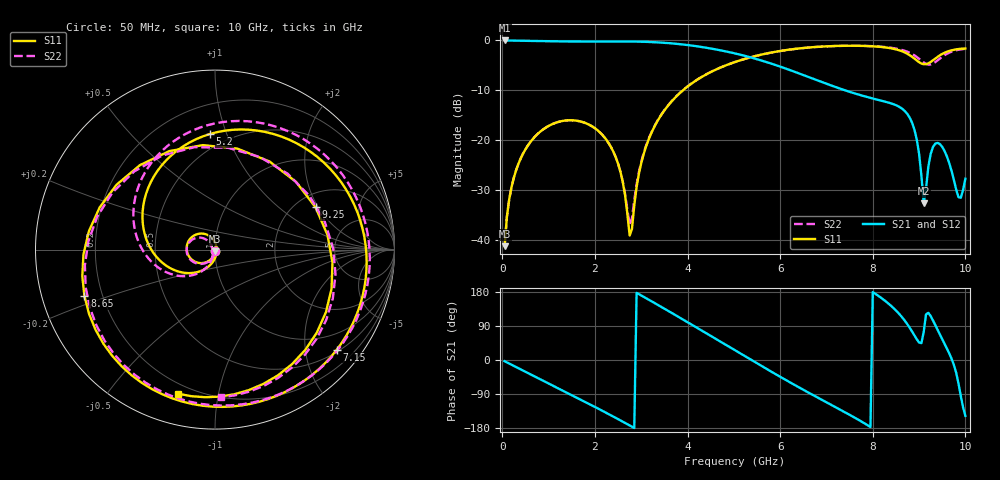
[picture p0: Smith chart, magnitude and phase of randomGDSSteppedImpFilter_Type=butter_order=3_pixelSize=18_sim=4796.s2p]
! freq	dB(S11)	phase(S11)	dB(S12)	phase(S12)
!  dB(S21)	phase(S21)	dB(S22)	phase(S22)
!S-par simulation data
#  GHz  S  DB  R 50
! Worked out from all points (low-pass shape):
!   200 points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, 50 MHz to 10 GHz, reference 50 ohm
!   highest |S21| = -0.01 dB at 50 MHz (marker M1); lowest = -32.7 dB at 9.1 GHz (marker M2)
!   |S21| within 3 dB of the highest: start of sweep to 5.199 GHz
!   lowest |S11| = -41.3 dB at 50 MHz (marker M3), VSWR 1.02, Z = 50 - j0.861 ohm
!   |S11| at or under -10 dB: start of sweep to 3.902 GHz
!   |S22| runs from -41.3 to -1.1 dB; largest |S21 - S12| = 0
!   S11 on the Smith chart (normalised r, x): 50 MHz: 1.00, -0.02; 5.2 GHz: 0.40, +0.88; 7.15 GHz: 0.55, -2.69; 8.65 GHz: 0.13, -0.17; 9.25 GHz: 2.53, +1.89; 10 GHz: 0.15, -0.77
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0.05  -41.29 -91.0  -0.01 -3.2  -0.01 -3.2  -41.29 -90.7
0.2  -29.41 -102.6  -0.03 -12.5  -0.03 -12.5  -29.41 -101.8
0.55  -21.13 -125.9  -0.08 -34.2  -0.08 -34.2  -21.13 -123.4
1.75  -16.43 156.2  -0.23 -108.1  -0.23 -108.1  -16.44 166.2
2.45  -23.45 104.8  -0.21 -152.8  -0.21 -152.8  -23.46 130.3
2.75  -39.15 22.8  -0.21 -172.7  -0.21 -172.7  -36.94 177.5
3  -24.64 -95.4  -0.25 170.3  -0.25 170.3  -24.39 -109.5
3.4  -15.43 -130.8  -0.42 142.5  -0.42 142.5  -15.35 -127.4
4.15  -8.25 171.5  -1.11 89.0  -1.11 89.0  -8.22 -175.8
5.05  -4.25 103.6  -2.67 23.7  -2.67 23.7  -4.25 121.9
5.2  -3.81 92.4  -3.01 12.8  -3.01 12.8  -3.81 111.3
5.9  -2.28 42.0  -4.94 -37.3  -4.94 -37.3  -2.29 61.7
6.7  -1.36 -11.3  -7.65 -91.9  -7.65 -91.9  -1.37 6.6
7.15  -1.13 -39.4  -9.20 -121.5  -9.20 -121.5  -1.13 -23.1
8.35  -1.51 -123.6  -12.50 147.8  -12.50 147.8  -1.42 -108.0
8.65  -2.24 -160.3  -13.82 110.2  -13.82 110.2  -1.97 -140.5
8.95  -4.02 131.6  -19.88 54.7  -19.88 54.7  -3.33 164.4
9.1  -4.79 77.5  -32.66 74.2  -32.66 74.2  -4.42 119.3
9.25  -4.33 22.8  -22.79 116.0  -22.79 116.0  -4.83 64.2
9.5  -2.71 -39.1  -21.36 54.8  -21.36 54.8  -3.28 -11.6
9.85  -1.73 -88.3  -31.44 -61.3  -31.44 -61.3  -1.87 -70.3
10  -1.63 -104.3  -27.76 -147.5  -27.76 -147.5  -1.69 -87.8
